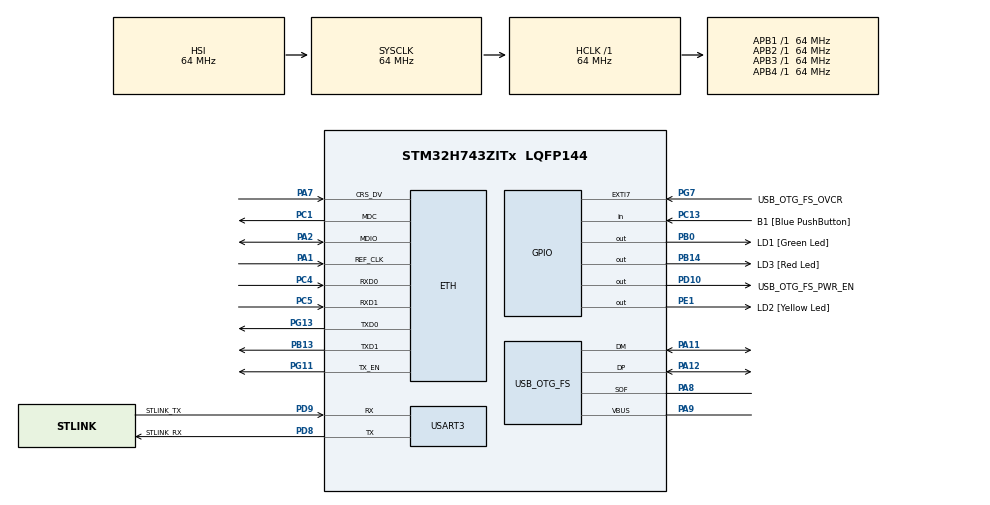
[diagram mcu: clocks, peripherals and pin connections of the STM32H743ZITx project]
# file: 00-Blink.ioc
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ETH.MediaInterface=HAL_ETH_RMII_MODE
Mcu.Family=STM32H7
Mcu.Name=STM32H743ZITx
Mcu.Package=LQFP144
NVIC.PriorityGroup=NVIC_PRIORITYGROUP_4
PA1.Mode=RMII
PA1.Signal=ETH_REF_CLK
PA11.Mode=Device_Only
PA11.Signal=USB_OTG_FS_DM
PA12.Mode=Device_Only
PA12.Signal=USB_OTG_FS_DP
PA2.Mode=RMII
PA2.Signal=ETH_MDIO
PA7.Mode=RMII
PA7.Signal=ETH_CRS_DV
PA8.Mode=Activate_SOF_FS
PA8.Signal=USB_OTG_FS_SOF
PA9.Mode=Activate_VBUS
PA9.Signal=USB_OTG_FS_VBUS
PB0.GPIO_Label=LD1 [Green Led]
PB0.Signal=GPIO_Output
PB13.Mode=RMII
PB13.Signal=ETH_TXD1
PB14.GPIO_Label=LD3 [Red Led]
PB14.Signal=GPIO_Output
PC1.Mode=RMII
PC1.Signal=ETH_MDC
PC13.GPIO_Label=B1 [Blue PushButton]
PC13.Signal=GPIO_Input
PC14-OSC32_IN\ (OSC32_IN).Mode=LSE-External-Oscillator
PC14-OSC32_IN\ (OSC32_IN).Signal=RCC_OSC32_IN
PC15-OSC32_OUT\ (OSC32_OUT).Mode=LSE-External-Oscillator
PC15-OSC32_OUT\ (OSC32_OUT).Signal=RCC_OSC32_OUT
PC4.Mode=RMII
PC4.Signal=ETH_RXD0
PC5.Mode=RMII
PC5.Signal=ETH_RXD1
PD10.GPIO_Label=USB_OTG_FS_PWR_EN
PD10.Signal=GPIO_Output
PD8.GPIO_Label=STLINK_RX
PD8.Mode=Asynchronous
PD8.Signal=USART3_TX
PD9.GPIO_Label=STLINK_TX
PD9.Mode=Asynchronous
PD9.Signal=USART3_RX
PE1.GPIO_Label=LD2 [Yellow Led]
PE1.Signal=GPIO_Output
PG11.Mode=RMII
PG11.Signal=ETH_TX_EN
PG13.Mode=RMII
PG13.Signal=ETH_TXD0
PG7.GPIO_Label=USB_OTG_FS_OVCR
PG7.Signal=GPXTI7
PH0-OSC_IN\ (PH0).Mode=HSE-External-Clock-Source
PH0-OSC_IN\ (PH0).Signal=RCC_OSC_IN
PH1-OSC_OUT\ (PH1).Signal=RCC_OSC_OUT
ProjectManager.HeapSize=0x200
ProjectManager.StackSize=0x400
ProjectManager.TargetToolchain=STM32CubeIDE
RCC.ADCFreq_Value=16125000
RCC.APB1Freq_Value=64000000
RCC.APB2Freq_Value=64000000
RCC.APB3Freq_Value=64000000
RCC.APB4Freq_Value=64000000
RCC.CortexFreq_Value=64000000
RCC.DIVM1=1
RCC.DIVN1=24
RCC.DIVQ1=4
RCC.HCLKFreq_Value=64000000
RCC.HSE_VALUE=8000000
RCC.PLLFRACN=0
RCC.PWR_Regulator_Voltage_Scale=PWR_REGULATOR_VOLTAGE_SCALE2
RCC.SYSCLKFreq_VALUE=64000000
RCC.USBFreq_Value=48000000
USART3.VirtualMode-Asynchronous=VM_ASYNC
USB_OTG_FS.VirtualMode=Device_Only
board=NUCLEO-H743ZI2

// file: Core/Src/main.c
/* USER CODE BEGIN Header */
/**
  ******************************************************************************
  * @file           : main.c
  * @brief          : Main program body
  ******************************************************************************
  * @attention
  *
  * Copyright (c) 2023 STMicroelectronics.
  * All rights reserved.
  *
  * This software is licensed under terms that can be found in the LICENSE file
  * in the root directory of this software component.
  * If no LICENSE file comes with this software, it is provided AS-IS.
  *
  ******************************************************************************
  */
/* USER CODE END Header */
#include "main.h"
#include "string.h"

#if defined ( __ICCARM__ ) /*!< IAR Compiler */
#pragma location=0x30000000
ETH_DMADescTypeDef  DMARxDscrTab[ETH_RX_DESC_CNT]; /* Ethernet Rx DMA Descriptors */
#pragma location=0x30000200
ETH_DMADescTypeDef  DMATxDscrTab[ETH_TX_DESC_CNT]; /* Ethernet Tx DMA Descriptors */

#elif defined ( __CC_ARM )  /* MDK ARM Compiler */

__attribute__((at(0x30000000))) ETH_DMADescTypeDef  DMARxDscrTab[ETH_RX_DESC_CNT]; /* Ethernet Rx DMA Descriptors */
__attribute__((at(0x30000200))) ETH_DMADescTypeDef  DMATxDscrTab[ETH_TX_DESC_CNT]; /* Ethernet Tx DMA Descriptors */

#elif defined ( __GNUC__ ) /* GNU Compiler */
ETH_DMADescTypeDef DMARxDscrTab[ETH_RX_DESC_CNT] __attribute__((section(".RxDecripSection"))); /* Ethernet Rx DMA Descriptors */
ETH_DMADescTypeDef DMATxDscrTab[ETH_TX_DESC_CNT] __attribute__((section(".TxDecripSection")));   /* Ethernet Tx DMA Descriptors */

#endif

ETH_TxPacketConfig TxConfig;

ETH_HandleTypeDef heth;

UART_HandleTypeDef huart3;

PCD_HandleTypeDef hpcd_USB_OTG_FS;

void SystemClock_Config(void);
static void MX_GPIO_Init(void);
static void MX_ETH_Init(void);
static void MX_USART3_UART_Init(void);
static void MX_USB_OTG_FS_PCD_Init(void);

int main(void)
{

  /* MCU Configuration--------------------------------------------------------*/

  /* Reset of all peripherals, Initializes the Flash interface and the Systick. */
  HAL_Init();

  /* Configure the system clock */
  SystemClock_Config();

  /* Initialize all configured peripherals */
  MX_GPIO_Init();
  MX_ETH_Init();
  MX_USART3_UART_Init();
  MX_USB_OTG_FS_PCD_Init();

  /* Infinite loop */
  while (1)
  {

    /* USER CODE BEGIN 3 */
	  HAL_GPIO_WritePin(LD1_GPIO_Port, LD1_Pin, SET);
	  HAL_GPIO_WritePin(LD2_GPIO_Port, LD2_Pin, SET);
	  HAL_GPIO_WritePin(LD3_GPIO_Port, LD3_Pin, SET);
	  HAL_Delay(100);

	  HAL_GPIO_WritePin(LD1_GPIO_Port, LD1_Pin, RESET);
	  HAL_GPIO_WritePin(LD2_GPIO_Port, LD2_Pin, SET);
	  HAL_GPIO_WritePin(LD3_GPIO_Port, LD3_Pin, SET);
	  HAL_Delay(100);

	  HAL_GPIO_WritePin(LD1_GPIO_Port, LD1_Pin, SET);
	  HAL_GPIO_WritePin(LD2_GPIO_Port, LD2_Pin, RESET);
	  HAL_GPIO_WritePin(LD3_GPIO_Port, LD3_Pin, SET);
	  HAL_Delay(100);

	  HAL_GPIO_WritePin(LD1_GPIO_Port, LD1_Pin, RESET);
	  HAL_GPIO_WritePin(LD2_GPIO_Port, LD2_Pin, RESET);
	  HAL_GPIO_WritePin(LD3_GPIO_Port, LD3_Pin, SET);
	  HAL_Delay(100);

	  HAL_GPIO_WritePin(LD1_GPIO_Port, LD1_Pin, SET);
	  HAL_GPIO_WritePin(LD2_GPIO_Port, LD2_Pin, SET);
	  HAL_GPIO_WritePin(LD3_GPIO_Port, LD3_Pin, RESET);
	  HAL_Delay(100);

	  HAL_GPIO_WritePin(LD1_GPIO_Port, LD1_Pin, RESET);
	  HAL_GPIO_WritePin(LD2_GPIO_Port, LD2_Pin, SET);
	  HAL_GPIO_WritePin(LD3_GPIO_Port, LD3_Pin, RESET);
	  HAL_Delay(100);

	  HAL_GPIO_WritePin(LD1_GPIO_Port, LD1_Pin, SET);
	  HAL_GPIO_WritePin(LD2_GPIO_Port, LD2_Pin, RESET);
	  HAL_GPIO_WritePin(LD3_GPIO_Port, LD3_Pin, RESET);
	  HAL_Delay(100);

	  HAL_GPIO_WritePin(LD1_GPIO_Port, LD1_Pin, RESET);
	  HAL_GPIO_WritePin(LD2_GPIO_Port, LD2_Pin, RESET);
	  HAL_GPIO_WritePin(LD3_GPIO_Port, LD3_Pin, RESET);
	  HAL_Delay(100);
  }
  /* USER CODE END 3 */
}

void SystemClock_Config(void)
{
  RCC_OscInitTypeDef RCC_OscInitStruct = {0};
  RCC_ClkInitTypeDef RCC_ClkInitStruct = {0};

  /** Supply configuration update enable
  */
  HAL_PWREx_ConfigSupply(PWR_LDO_SUPPLY);

  /** Configure the main internal regulator output voltage
  */
  __HAL_PWR_VOLTAGESCALING_CONFIG(PWR_REGULATOR_VOLTAGE_SCALE2);

  while(!__HAL_PWR_GET_FLAG(PWR_FLAG_VOSRDY)) {}

  /** Initializes the RCC Oscillators according to the specified parameters
  * in the RCC_OscInitTypeDef structure.
  */
  RCC_OscInitStruct.OscillatorType = RCC_OSCILLATORTYPE_HSI|RCC_OSCILLATORTYPE_HSE;
  RCC_OscInitStruct.HSEState = RCC_HSE_BYPASS;
  RCC_OscInitStruct.HSIState = RCC_HSI_DIV1;
  RCC_OscInitStruct.HSICalibrationValue = RCC_HSICALIBRATION_DEFAULT;
  RCC_OscInitStruct.PLL.PLLState = RCC_PLL_ON;
  RCC_OscInitStruct.PLL.PLLSource = RCC_PLLSOURCE_HSE;
  RCC_OscInitStruct.PLL.PLLM = 1;
  RCC_OscInitStruct.PLL.PLLN = 24;
  RCC_OscInitStruct.PLL.PLLP = 2;
  RCC_OscInitStruct.PLL.PLLQ = 4;
  RCC_OscInitStruct.PLL.PLLR = 2;
  RCC_OscInitStruct.PLL.PLLRGE = RCC_PLL1VCIRANGE_3;
  RCC_OscInitStruct.PLL.PLLVCOSEL = RCC_PLL1VCOWIDE;
  RCC_OscInitStruct.PLL.PLLFRACN = 0;
  if (HAL_RCC_OscConfig(&RCC_OscInitStruct) != HAL_OK)
  {
    Error_Handler();
  }

  /** Initializes the CPU, AHB and APB buses clocks
  */
  RCC_ClkInitStruct.ClockType = RCC_CLOCKTYPE_HCLK|RCC_CLOCKTYPE_SYSCLK
                              |RCC_CLOCKTYPE_PCLK1|RCC_CLOCKTYPE_PCLK2
                              |RCC_CLOCKTYPE_D3PCLK1|RCC_CLOCKTYPE_D1PCLK1;
  RCC_ClkInitStruct.SYSCLKSource = RCC_SYSCLKSOURCE_HSI;
  RCC_ClkInitStruct.SYSCLKDivider = RCC_SYSCLK_DIV1;
  RCC_ClkInitStruct.AHBCLKDivider = RCC_HCLK_DIV1;
  RCC_ClkInitStruct.APB3CLKDivider = RCC_APB3_DIV1;
  RCC_ClkInitStruct.APB1CLKDivider = RCC_APB1_DIV1;
  RCC_ClkInitStruct.APB2CLKDivider = RCC_APB2_DIV1;
  RCC_ClkInitStruct.APB4CLKDivider = RCC_APB4_DIV1;

  if (HAL_RCC_ClockConfig(&RCC_ClkInitStruct, FLASH_LATENCY_1) != HAL_OK)
  {
    Error_Handler();
  }
}

static void MX_ETH_Init(void)
{

   static uint8_t MACAddr[6];

  heth.Instance = ETH;
  MACAddr[0] = 0x00;
  MACAddr[1] = 0x80;
  MACAddr[2] = 0xE1;
  MACAddr[3] = 0x00;
  MACAddr[4] = 0x00;
  MACAddr[5] = 0x00;
  heth.Init.MACAddr = &MACAddr[0];
  heth.Init.MediaInterface = HAL_ETH_RMII_MODE;
  heth.Init.TxDesc = DMATxDscrTab;
  heth.Init.RxDesc = DMARxDscrTab;
  heth.Init.RxBuffLen = 1524;

  if (HAL_ETH_Init(&heth) != HAL_OK)
  {
    Error_Handler();
  }

  memset(&TxConfig, 0 , sizeof(ETH_TxPacketConfig));
  TxConfig.Attributes = ETH_TX_PACKETS_FEATURES_CSUM | ETH_TX_PACKETS_FEATURES_CRCPAD;
  TxConfig.ChecksumCtrl = ETH_CHECKSUM_IPHDR_PAYLOAD_INSERT_PHDR_CALC;
  TxConfig.CRCPadCtrl = ETH_CRC_PAD_INSERT;

}

static void MX_USART3_UART_Init(void)
{

  huart3.Instance = USART3;
  huart3.Init.BaudRate = 115200;
  huart3.Init.WordLength = UART_WORDLENGTH_8B;
  huart3.Init.StopBits = UART_STOPBITS_1;
  huart3.Init.Parity = UART_PARITY_NONE;
  huart3.Init.Mode = UART_MODE_TX_RX;
  huart3.Init.HwFlowCtl = UART_HWCONTROL_NONE;
  huart3.Init.OverSampling = UART_OVERSAMPLING_16;
  huart3.Init.OneBitSampling = UART_ONE_BIT_SAMPLE_DISABLE;
  huart3.Init.ClockPrescaler = UART_PRESCALER_DIV1;
  huart3.AdvancedInit.AdvFeatureInit = UART_ADVFEATURE_NO_INIT;
  if (HAL_UART_Init(&huart3) != HAL_OK)
  {
    Error_Handler();
  }
  if (HAL_UARTEx_SetTxFifoThreshold(&huart3, UART_TXFIFO_THRESHOLD_1_8) != HAL_OK)
  {
    Error_Handler();
  }
  if (HAL_UARTEx_SetRxFifoThreshold(&huart3, UART_RXFIFO_THRESHOLD_1_8) != HAL_OK)
  {
    Error_Handler();
  }
  if (HAL_UARTEx_DisableFifoMode(&huart3) != HAL_OK)
  {
    Error_Handler();
  }

}

static void MX_USB_OTG_FS_PCD_Init(void)
{

  hpcd_USB_OTG_FS.Instance = USB_OTG_FS;
  hpcd_USB_OTG_FS.Init.dev_endpoints = 9;
  hpcd_USB_OTG_FS.Init.speed = PCD_SPEED_FULL;
  hpcd_USB_OTG_FS.Init.dma_enable = DISABLE;
  hpcd_USB_OTG_FS.Init.phy_itface = PCD_PHY_EMBEDDED;
  hpcd_USB_OTG_FS.Init.Sof_enable = ENABLE;
  hpcd_USB_OTG_FS.Init.low_power_enable = DISABLE;
  hpcd_USB_OTG_FS.Init.lpm_enable = DISABLE;
  hpcd_USB_OTG_FS.Init.battery_charging_enable = ENABLE;
  hpcd_USB_OTG_FS.Init.vbus_sensing_enable = ENABLE;
  hpcd_USB_OTG_FS.Init.use_dedicated_ep1 = DISABLE;
  if (HAL_PCD_Init(&hpcd_USB_OTG_FS) != HAL_OK)
  {
    Error_Handler();
  }

}

static void MX_GPIO_Init(void)
{
  GPIO_InitTypeDef GPIO_InitStruct = {0};

  /* GPIO Ports Clock Enable */
  __HAL_RCC_GPIOC_CLK_ENABLE();
  __HAL_RCC_GPIOH_CLK_ENABLE();
  __HAL_RCC_GPIOA_CLK_ENABLE();
  __HAL_RCC_GPIOB_CLK_ENABLE();
  __HAL_RCC_GPIOD_CLK_ENABLE();
  __HAL_RCC_GPIOG_CLK_ENABLE();
  __HAL_RCC_GPIOE_CLK_ENABLE();

  /*Configure GPIO pin Output Level */
  HAL_GPIO_WritePin(GPIOB, LD1_Pin|LD3_Pin, GPIO_PIN_RESET);

  /*Configure GPIO pin Output Level */
  HAL_GPIO_WritePin(USB_OTG_FS_PWR_EN_GPIO_Port, USB_OTG_FS_PWR_EN_Pin, GPIO_PIN_RESET);

  /*Configure GPIO pin Output Level */
  HAL_GPIO_WritePin(LD2_GPIO_Port, LD2_Pin, GPIO_PIN_RESET);

  /*Configure GPIO pin : B1_Pin */
  GPIO_InitStruct.Pin = B1_Pin;
  GPIO_InitStruct.Mode = GPIO_MODE_INPUT;
  GPIO_InitStruct.Pull = GPIO_NOPULL;
  HAL_GPIO_Init(B1_GPIO_Port, &GPIO_InitStruct);

  /*Configure GPIO pins : LD1_Pin LD3_Pin */
  GPIO_InitStruct.Pin = LD1_Pin|LD3_Pin;
  GPIO_InitStruct.Mode = GPIO_MODE_OUTPUT_PP;
  GPIO_InitStruct.Pull = GPIO_NOPULL;
  GPIO_InitStruct.Speed = GPIO_SPEED_FREQ_LOW;
  HAL_GPIO_Init(GPIOB, &GPIO_InitStruct);

  /*Configure GPIO pin : USB_OTG_FS_PWR_EN_Pin */
  GPIO_InitStruct.Pin = USB_OTG_FS_PWR_EN_Pin;
  GPIO_InitStruct.Mode = GPIO_MODE_OUTPUT_PP;
  GPIO_InitStruct.Pull = GPIO_NOPULL;
  GPIO_InitStruct.Speed = GPIO_SPEED_FREQ_LOW;
  HAL_GPIO_Init(USB_OTG_FS_PWR_EN_GPIO_Port, &GPIO_InitStruct);

  /*Configure GPIO pin : USB_OTG_FS_OVCR_Pin */
  GPIO_InitStruct.Pin = USB_OTG_FS_OVCR_Pin;
  GPIO_InitStruct.Mode = GPIO_MODE_IT_RISING;
  GPIO_InitStruct.Pull = GPIO_NOPULL;
  HAL_GPIO_Init(USB_OTG_FS_OVCR_GPIO_Port, &GPIO_InitStruct);

  /*Configure GPIO pin : LD2_Pin */
  GPIO_InitStruct.Pin = LD2_Pin;
  GPIO_InitStruct.Mode = GPIO_MODE_OUTPUT_PP;
  GPIO_InitStruct.Pull = GPIO_NOPULL;
  GPIO_InitStruct.Speed = GPIO_SPEED_FREQ_LOW;
  HAL_GPIO_Init(LD2_GPIO_Port, &GPIO_InitStruct);

}

void Error_Handler(void)
{
  __disable_irq();
  while (1)
  {
  }
}
